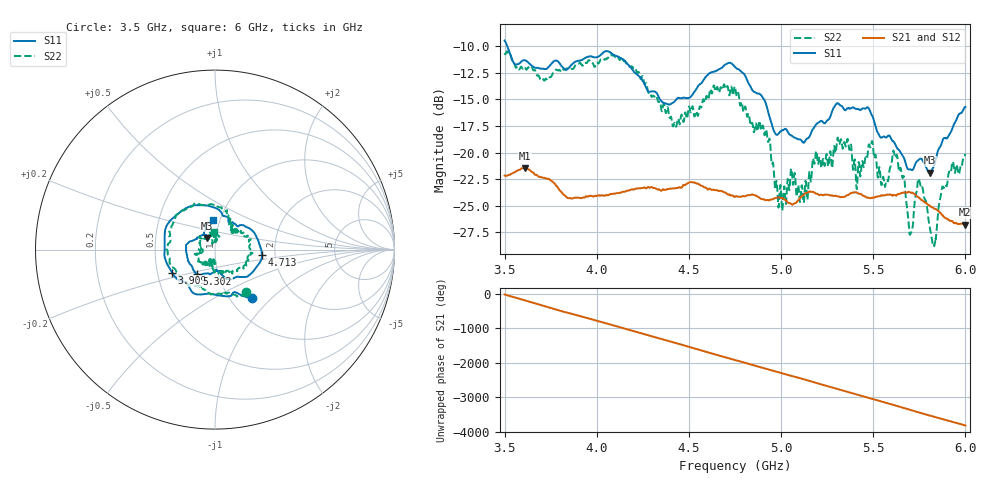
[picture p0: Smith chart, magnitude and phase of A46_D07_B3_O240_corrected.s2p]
! Created with skrf 1.9.0 (http://scikit-rf.org).
# Hz S RI R 50.0
!freq ReS11 ImS11 ReS21 ImS21 ReS12 ImS12 ReS22 ImS22
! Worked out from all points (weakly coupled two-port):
!   1601 points, 3.5 GHz to 6 GHz, reference 50 ohm
!   highest |S21| = -21.43 dB at 3.609 GHz (marker M1); lowest = -26.8 dB at 5.998 GHz (marker M2)
!   lowest |S11| = -21.9 dB at 5.806 GHz (marker M3), VSWR 1.18, Z = 45.1 + j5.92 ohm
!   |S11| at or under -10 dB: 3.515 GHz to end of sweep
!   |S22| runs from -28.8 to -10.5 dB; largest |S21 - S12| = 0.00091
!   S11 on the Smith chart (normalised r, x): 3.5 GHz: 1.25, -0.76; 3.909 GHz: 0.60, -0.17; 4.713 GHz: 1.70, -0.12; 5.302 GHz: 0.79, -0.22; 6 GHz: 0.93, +0.31
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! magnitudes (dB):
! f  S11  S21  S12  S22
! 3.5 GHz  -9.4  -22.2  -22.1  -10.7
! 3.609 GHz  -11.3  -21.4  -21.4  -11.9
! 3.909 GHz  -11.3  -24.3  -24.2  -11.6
! 3.917 GHz  -11.3  -24.3  -24.2  -11.7
! 4.142 GHz  -11.2  -23.7  -23.7  -11.3
! 4.334 GHz  -14.7  -23.4  -23.4  -15.2
! 4.422 GHz  -15.2  -23.3  -23.3  -17.2
! 4.713 GHz  -11.6  -23.9  -23.9  -13.9
! 4.75 GHz  -11.9  -24.2  -24.1  -13.8
! 4.928 GHz  -16.0  -24.4  -24.4  -18.9
! 4.995 GHz  -18.0  -24.2  -24.2  -23.1
! 5.167 GHz  -18.0  -23.7  -23.7  -21.7
! 5.302 GHz  -15.4  -24.1  -24.1  -19.2
! 5.584 GHz  -18.4  -24.0  -23.9  -22.3
! 5.62 GHz  -19.2  -24.0  -24.0  -20.5
! 5.703 GHz  -21.6  -23.8  -23.7  -27.6
! 5.755 GHz  -20.6  -24.3  -24.3  -22.9
! 5.806 GHz  -21.9  -25.0  -25.0  -27.0
! 5.831 GHz  -21.2  -25.3  -25.2  -28.8
! 5.877 GHz  -18.8  -25.9  -25.9  -23.2
! 5.998 GHz  -15.7  -26.8  -26.7  -20.2
! 6 GHz  -15.7  -26.8  -26.7  -20.1
